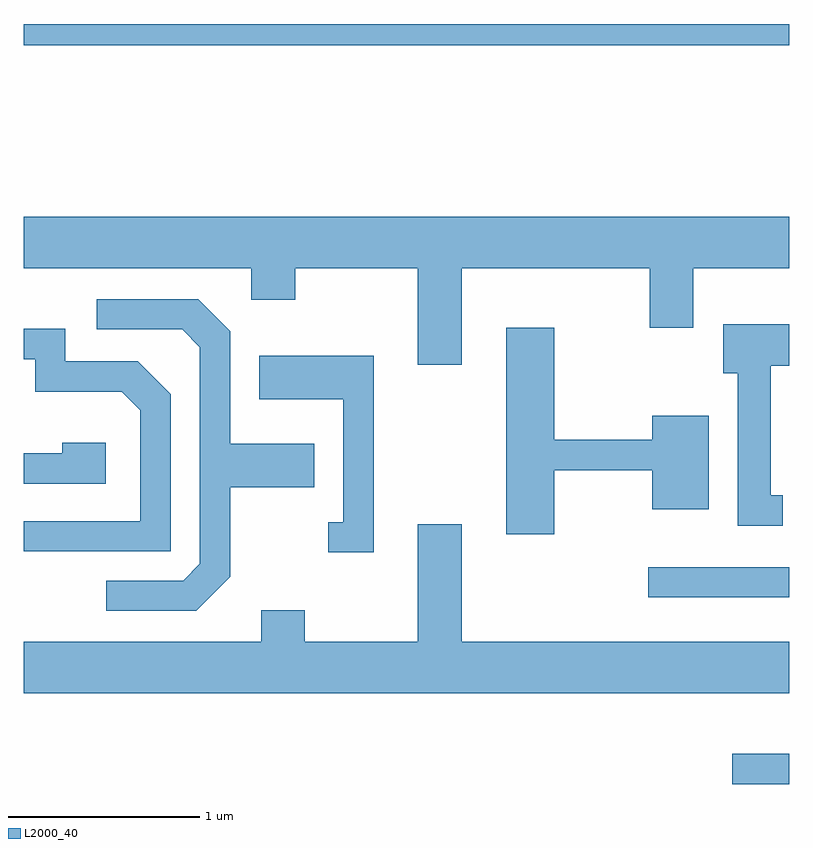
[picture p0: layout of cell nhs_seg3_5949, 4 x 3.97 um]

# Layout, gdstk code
import gdstk
lib = gdstk.Library(unit=1e-6, precision=1e-09)
def R(c, l, rs):  # rectangles x0, y0, x1, y1
    for r in rs: c.add(gdstk.rectangle(r[:2], r[2:], *l))
def P(c, l, *ps):  # polygons
    for p in ps: c.add(gdstk.Polygon(p, *l))
L2000_40 = (2000, 40)

nhs_seg3_5949 = lib.new_cell('nhs_seg3_5949')
R(nhs_seg3_5949, L2000_40, [(363.313,1189.921,363.611,1190.079), (362.873,1190.896,363.611,1191.054), (359.611,1193.781,363.611,1193.892)])
P(nhs_seg3_5949, L2000_40, [(361.899,1192.616),(362.881,1192.616),(362.881,1192.306),(363.109,1192.306),(363.109,1192.616),(363.611,1192.616),(363.611,1192.884),(359.611,1192.884),(359.611,1192.616),(360.801,1192.616),(360.801,1192.451),(361.029,1192.451),(361.029,1192.616),(361.671,1192.616),(361.671,1192.111),(361.899,1192.111)],
  [(360.689,1191.004),(360.689,1191.471),(361.129,1191.471),(361.129,1191.699),(360.689,1191.699),(360.689,1192.287),(360.522,1192.454),(359.993,1192.454),(359.993,1192.296),(360.439,1192.296),(360.531,1192.204),(360.531,1191.072),(360.444,1190.984),(360.043,1190.984),(360.043,1190.826),(360.512,1190.826)],
  [(363.578,1191.429),(363.514,1191.429),(363.514,1192.106),(363.611,1192.106),(363.611,1192.324),(363.266,1192.324),(363.266,1192.066),(363.341,1192.066),(363.341,1191.271),(363.578,1191.271)],
  [(362.384,1191.561),(362.896,1191.561),(362.896,1191.356),(363.189,1191.356),(363.189,1191.844),(362.896,1191.844),(362.896,1191.719),(362.384,1191.719),(362.384,1192.304),(362.131,1192.304),(362.131,1191.226),(362.384,1191.226)],
  [(360.379,1191.957),(360.207,1192.129),(359.829,1192.129),(359.829,1192.299),(359.611,1192.299),(359.611,1192.141),(359.671,1192.141),(359.671,1191.971),(360.124,1191.971),(360.221,1191.874),(360.221,1191.294),(359.611,1191.294),(359.611,1191.136),(360.379,1191.136)],
  [(361.439,1192.159),(360.841,1192.159),(360.841,1191.931),(361.281,1191.931),(361.281,1191.289),(361.203,1191.289),(361.203,1191.131),(361.439,1191.131)],
  [(360.039,1191.704),(359.811,1191.704),(359.811,1191.649),(359.611,1191.649),(359.611,1191.491),(360.039,1191.491)],
  [(363.611,1190.664),(361.899,1190.664),(361.899,1191.279),(361.671,1191.279),(361.671,1190.664),(361.079,1190.664),(361.079,1190.829),(360.851,1190.829),(360.851,1190.664),(359.611,1190.664),(359.611,1190.396),(363.611,1190.396)])

lib.write_gds('nhs_seg3_5949.gds')
